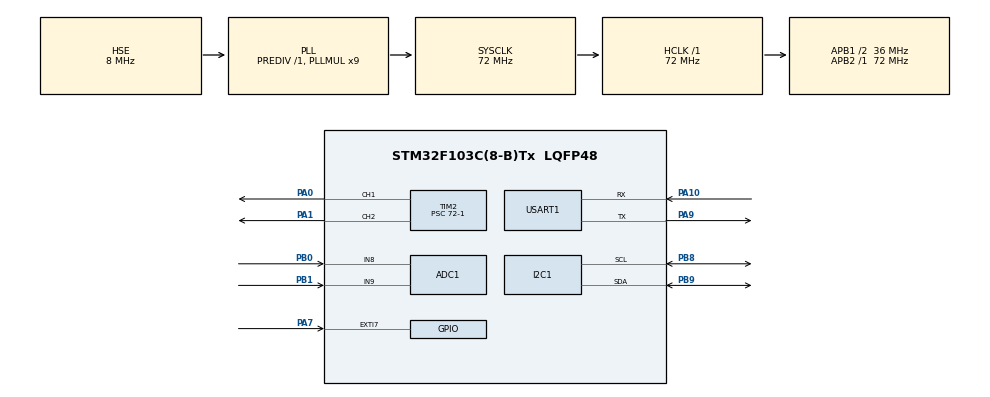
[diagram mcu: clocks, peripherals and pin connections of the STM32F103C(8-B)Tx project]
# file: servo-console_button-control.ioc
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ADC1.Channel-1\#ChannelRegularConversion=ADC_CHANNEL_8
ADC1.Channel-2\#ChannelRegularConversion=ADC_CHANNEL_9
ADC1.Channel-3\#ChannelRegularConversion=ADC_CHANNEL_VREFINT
ADC1.ContinuousConvMode=ENABLE
ADC1.NbrOfConversion=3
ADC1.NbrOfConversionFlag=1
ADC1.Rank-1\#ChannelRegularConversion=1
ADC1.Rank-2\#ChannelRegularConversion=2
ADC1.Rank-3\#ChannelRegularConversion=3
ADC1.SamplingTime-1\#ChannelRegularConversion=ADC_SAMPLETIME_71CYCLES_5
ADC1.SamplingTime-2\#ChannelRegularConversion=ADC_SAMPLETIME_71CYCLES_5
ADC1.SamplingTime-3\#ChannelRegularConversion=ADC_SAMPLETIME_71CYCLES_5
ADC1.master=1
Dma.ADC1.0.Direction=DMA_PERIPH_TO_MEMORY
Dma.ADC1.0.Instance=DMA1_Channel1
Dma.ADC1.0.MemDataAlignment=DMA_MDATAALIGN_HALFWORD
Dma.ADC1.0.MemInc=DMA_MINC_ENABLE
Dma.ADC1.0.Mode=DMA_CIRCULAR
Dma.ADC1.0.PeriphDataAlignment=DMA_PDATAALIGN_HALFWORD
Dma.ADC1.0.PeriphInc=DMA_PINC_DISABLE
Dma.ADC1.0.Priority=DMA_PRIORITY_LOW
Dma.Request0=ADC1
I2C1.I2C_Mode=I2C_Fast
Mcu.Family=STM32F1
Mcu.Name=STM32F103C(8-B)Tx
Mcu.Package=LQFP48
NVIC.DMA1_Channel1_IRQn=true\:0\:0\:false\:false\:true\:false\:true\:true
NVIC.EXTI9_5_IRQn=true\:0\:0\:true\:false\:true\:true\:true\:true
NVIC.PriorityGroup=NVIC_PRIORITYGROUP_4
NVIC.TIM2_IRQn=true\:0\:0\:false\:false\:true\:true\:true\:true
PA0-WKUP.Signal=S_TIM2_CH1_ETR
PA1.Signal=S_TIM2_CH2
PA10.Mode=Asynchronous
PA10.Signal=USART1_RX
PA13.Mode=Serial_Wire
PA13.Signal=SYS_JTMS-SWDIO
PA14.Mode=Serial_Wire
PA14.Signal=SYS_JTCK-SWCLK
PA7.GPIO_ModeDefaultEXTI=GPIO_MODE_IT_FALLING
PA7.GPIO_PuPd=GPIO_PULLUP
PA7.Signal=GPXTI7
PA9.Mode=Asynchronous
PA9.Signal=USART1_TX
PB0.Signal=ADCx_IN8
PB1.Signal=ADCx_IN9
PB8.Mode=I2C
PB8.Signal=I2C1_SCL
PB9.Mode=I2C
PB9.Signal=I2C1_SDA
PD0-OSC_IN.Mode=HSE-External-Oscillator
PD0-OSC_IN.Signal=RCC_OSC_IN
PD1-OSC_OUT.Mode=HSE-External-Oscillator
PD1-OSC_OUT.Signal=RCC_OSC_OUT
ProjectManager.HeapSize=0x200
ProjectManager.StackSize=0x400
ProjectManager.TargetToolchain=MDK-ARM V5.32
RCC.ADCPresc=RCC_ADCPCLK2_DIV6
RCC.AHBFreq_Value=72000000
RCC.APB1CLKDivider=RCC_HCLK_DIV2
RCC.APB1Freq_Value=36000000
RCC.APB1TimFreq_Value=72000000
RCC.APB2Freq_Value=72000000
RCC.APB2TimFreq_Value=72000000
RCC.HCLKFreq_Value=72000000
RCC.PLLMUL=RCC_PLL_MUL9
RCC.PLLSourceVirtual=RCC_PLLSOURCE_HSE
RCC.SYSCLKFreq_VALUE=72000000
RCC.SYSCLKSource=RCC_SYSCLKSOURCE_PLLCLK
RCC.USBFreq_Value=72000000
SH.ADCx_IN8.0=ADC1_IN8,IN8
SH.ADCx_IN9.0=ADC1_IN9,IN9
SH.S_TIM2_CH1_ETR.0=TIM2_CH1,PWM Generation1 CH1
SH.S_TIM2_CH2.0=TIM2_CH2,PWM Generation2 CH2
TIM2.Channel-PWM\ Generation1\ CH1=TIM_CHANNEL_1
TIM2.Channel-PWM\ Generation2\ CH2=TIM_CHANNEL_2
TIM2.Period=20000-1
TIM2.Prescaler=72-1
USART1.VirtualMode=VM_ASYNC
VP_ADC1_Vref_Input.Mode=IN-Vrefint
VP_TIM2_VS_ClockSourceINT.Mode=Internal
board=custom

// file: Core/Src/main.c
/* USER CODE BEGIN Header */
/**
  ******************************************************************************
  * @file           : main.c
  * @brief          : Main program body
  ******************************************************************************
  * @attention
  *
  * Copyright (c) 2026 STMicroelectronics.
  * All rights reserved.
  *
  * This software is licensed under terms that can be found in the LICENSE file
  * in the root directory of this software component.
  * If no LICENSE file comes with this software, it is provided AS-IS.
  *
  ******************************************************************************
  */
/* USER CODE END Header */
#include "main.h"
#include "adc.h"
#include "dma.h"
#include "i2c.h"
#include "tim.h"
#include "usart.h"
#include "gpio.h"

/* USER CODE BEGIN Includes */
#include "MPU6050.h"
#include "controler.h"
#include "algorithm.h"
#include <stdio.h>
#include <string.h>
/* USER CODE END Includes */

/* USER CODE BEGIN PV */
MPU6050 MM;
volatile int work_mode = 0; // 0: 摇杆控制模式 1: mpu控制模式
/* USER CODE END PV */

void SystemClock_Config(void);
/* USER CODE BEGIN PFP */
void HAL_TIM_PeriodElapsedCallback(TIM_HandleTypeDef *htim)
{
  if (htim->Instance == TIM2)
  {
	  MPU6050_Get_Angle(&MM);//(超低零点漂移)
	  //MPU6050_Get_Angle_Plus(&MM);//四元素法
  }
}
/* USER CODE END PFP */

/* USER CODE BEGIN 0 */
/*/////////////////////硬件连接/////////////////////
OLED屏幕      SCL B10    SDA  B11
MPU6050       SCL B8     SDA  B9
USART(串口)	   TX  A9    RX  A10
ADC(摇杆)     VRX PB0    VRX  PB1  SW
舵机          YAW(y)  PA0    PITCH(x) PA1
*//////////////////////硬件连接/////////////////////

// 重定向 fputc 函数
int fputc(int ch, FILE *f)
{
    // 使用 HAL 库发送一个字节的数据
    // huart1 是你定义的串口句柄，如果你用的是串口2，就改写成 &huart2
    HAL_UART_Transmit(&huart1, (uint8_t *)&ch, 1, HAL_MAX_DELAY);

    return ch;
}

uint16_t adc_value[3]; // 存储 ADC 转换结果的数组
float angles[2]; // 存储计算出的角度

/* USER CODE END 0 */

int main(void)
{

  /* MCU Configuration--------------------------------------------------------*/

  /* Reset of all peripherals, Initializes the Flash interface and the Systick. */
  HAL_Init();

  /* Configure the system clock */
  SystemClock_Config();

  /* Initialize all configured peripherals */
  MX_GPIO_Init();
  MX_DMA_Init();
  MX_ADC1_Init();
  MX_USART1_UART_Init();
  MX_TIM2_Init();
  MX_I2C1_Init();
  /* USER CODE BEGIN 2 */
  HAL_ADCEx_Calibration_Start(&hadc1); // 校准 ADC
  HAL_ADC_Start_DMA(&hadc1, (uint32_t*)adc_value, sizeof(adc_value) / sizeof(adc_value[0])); // 启动 ADC 转换并使用 DMA 存储结果
  HAL_TIM_PWM_Start(&htim2, TIM_CHANNEL_1); // Yaw (PA0)
  HAL_TIM_PWM_Start(&htim2, TIM_CHANNEL_2); // Pitch (PA1)
  // 初始化舵机到中位 (90度)
  __HAL_TIM_SET_COMPARE(&htim2, TIM_CHANNEL_1, AngleToCCR(90.0f)); // Yaw--y
  __HAL_TIM_SET_COMPARE(&htim2, TIM_CHANNEL_2, AngleToCCR(90.0f)); // Pitch--x

  MPU6050_init(&hi2c1);//初始化MPU6050(你使用的硬件iic)
  HAL_TIM_Base_Start_IT(&htim2);//定时器中断(确保每次读取的dt稳定)
  //printf("ID:%x",MPU6050_ID()); // 打印MPU6050的ID用于检车与设备连接是否正常
  /* USER CODE END 2 */

  /* Infinite loop */
  /* USER CODE BEGIN WHILE */
  while (1)
  {
    if (work_mode == 0) {
            Joystick_Control(adc_value, angles);
        } else {
            MPU6050_Control(angles);
        }

        Servo_Movement(angles); // 统一更新舵机

        HAL_Delay(20); // 20ms 更新一次舵机，符合一般舵机的刷新率要求
    /* USER CODE END WHILE */

  }
}

void SystemClock_Config(void)
{
  RCC_OscInitTypeDef RCC_OscInitStruct = {0};
  RCC_ClkInitTypeDef RCC_ClkInitStruct = {0};
  RCC_PeriphCLKInitTypeDef PeriphClkInit = {0};

  /** Initializes the RCC Oscillators according to the specified parameters
  * in the RCC_OscInitTypeDef structure.
  */
  RCC_OscInitStruct.OscillatorType = RCC_OSCILLATORTYPE_HSE;
  RCC_OscInitStruct.HSEState = RCC_HSE_ON;
  RCC_OscInitStruct.HSEPredivValue = RCC_HSE_PREDIV_DIV1;
  RCC_OscInitStruct.HSIState = RCC_HSI_ON;
  RCC_OscInitStruct.PLL.PLLState = RCC_PLL_ON;
  RCC_OscInitStruct.PLL.PLLSource = RCC_PLLSOURCE_HSE;
  RCC_OscInitStruct.PLL.PLLMUL = RCC_PLL_MUL9;
  if (HAL_RCC_OscConfig(&RCC_OscInitStruct) != HAL_OK)
  {
    Error_Handler();
  }

  /** Initializes the CPU, AHB and APB buses clocks
  */
  RCC_ClkInitStruct.ClockType = RCC_CLOCKTYPE_HCLK|RCC_CLOCKTYPE_SYSCLK
                              |RCC_CLOCKTYPE_PCLK1|RCC_CLOCKTYPE_PCLK2;
  RCC_ClkInitStruct.SYSCLKSource = RCC_SYSCLKSOURCE_PLLCLK;
  RCC_ClkInitStruct.AHBCLKDivider = RCC_SYSCLK_DIV1;
  RCC_ClkInitStruct.APB1CLKDivider = RCC_HCLK_DIV2;
  RCC_ClkInitStruct.APB2CLKDivider = RCC_HCLK_DIV1;

  if (HAL_RCC_ClockConfig(&RCC_ClkInitStruct, FLASH_LATENCY_2) != HAL_OK)
  {
    Error_Handler();
  }
  PeriphClkInit.PeriphClockSelection = RCC_PERIPHCLK_ADC;
  PeriphClkInit.AdcClockSelection = RCC_ADCPCLK2_DIV6;
  if (HAL_RCCEx_PeriphCLKConfig(&PeriphClkInit) != HAL_OK)
  {
    Error_Handler();
  }
}

/* USER CODE BEGIN 4 */
void HAL_GPIO_EXTI_Callback(uint16_t GPIO_Pin)
{
  Mode_Switch_Handler(GPIO_Pin); // 把中断逻辑也分出去
}
/* USER CODE END 4 */

void Error_Handler(void)
{
  __disable_irq();
  while (1)
  {
  }
}
